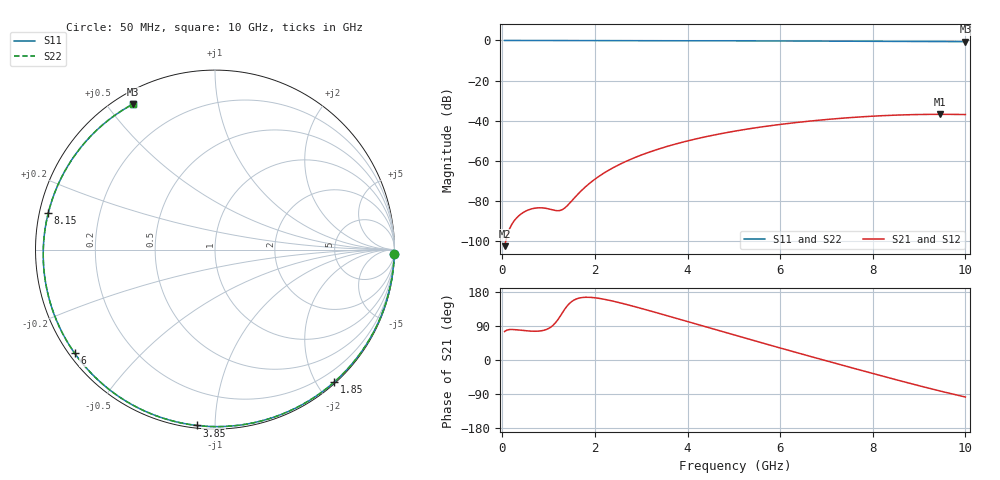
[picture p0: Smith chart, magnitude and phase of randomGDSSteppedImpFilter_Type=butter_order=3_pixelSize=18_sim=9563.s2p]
! freq	dB(S11)	phase(S11)	dB(S12)	phase(S12)
!  dB(S21)	phase(S21)	dB(S22)	phase(S22)
!S-par simulation data
#  GHz  S  DB  R 50
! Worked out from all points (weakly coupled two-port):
!   200 points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, 50 MHz to 10 GHz, reference 50 ohm
!   highest |S21| = -36.89 dB at 9.45 GHz (marker M1); lowest = -102.7 dB at 50 MHz (marker M2)
!   lowest |S11| = -0.6 dB at 10 GHz (marker M3), VSWR 27.88, Z = 2.41 + j29.2 ohm
!   |S11| at or under -10 dB: nowhere
!   |S22| runs from -0.6 to 0.0 dB; largest |S21 - S12| = 0
!   S11 on the Smith chart (normalised r, x): 50 MHz: 1, -89; 1.85 GHz: 0.02, -2.24; 3.85 GHz: 0.01, -0.90; 6 GHz: 0.02, -0.33; 8.15 GHz: 0.03, +0.11; 10 GHz: 0.05, +0.58
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0.05  -0.00 -1.3  -102.73 75.2  -102.73 75.2  -0.00 -1.3
0.4  -0.02 -10.6  -86.73 78.5  -86.73 78.5  -0.02 -10.6
0.75  -0.03 -19.8  -83.62 76.0  -83.62 76.0  -0.03 -19.8
1.1  -0.04 -28.9  -84.68 92.0  -84.68 92.0  -0.04 -28.9
1.5  -0.05 -39.2  -80.11 154.4  -80.11 154.4  -0.05 -39.2
1.75  -0.06 -45.5  -74.07 165.2  -74.07 165.2  -0.06 -45.5
1.85  -0.06 -48.1  -72.01 165.6  -72.01 165.6  -0.06 -48.1
2.15  -0.07 -55.6  -66.88 161.4  -66.88 161.4  -0.07 -55.6
2.5  -0.08 -64.2  -62.27 152.2  -62.27 152.2  -0.08 -64.2
2.9  -0.10 -73.8  -58.13 139.5  -58.13 139.5  -0.10 -73.8
3.4  -0.11 -85.6  -54.04 122.5  -54.04 122.5  -0.11 -85.6
3.85  -0.13 -96.0  -51.05 106.8  -51.05 106.8  -0.13 -96.0
4.45  -0.16 -109.5  -47.80 85.7  -47.80 85.7  -0.16 -109.5
5.05  -0.19 -122.8  -45.17 64.6  -45.17 64.6  -0.19 -122.8
6  -0.25 -143.6  -41.94 31.7  -41.94 31.7  -0.25 -143.6
6.7  -0.30 -159.0  -40.13 7.9  -40.13 7.9  -0.30 -159.0
7.45  -0.37 -175.9  -38.63 -17.3  -38.63 -17.3  -0.37 -175.9
8.15  -0.44 167.7  -37.63 -40.5  -37.63 -40.5  -0.44 167.7
8.35  -0.46 162.9  -37.42 -47.1  -37.42 -47.1  -0.46 162.9
8.9  -0.51 149.1  -37.02 -64.8  -37.02 -64.8  -0.51 149.1
9.45  -0.57 134.6  -36.89 -81.7  -36.89 -81.7  -0.57 134.6
10  -0.62 119.4  -37.00 -97.6  -37.00 -97.6  -0.62 119.4
